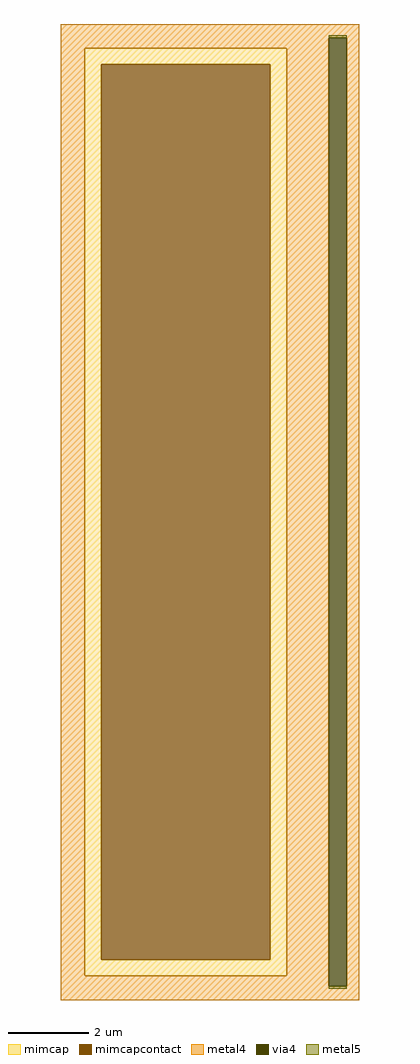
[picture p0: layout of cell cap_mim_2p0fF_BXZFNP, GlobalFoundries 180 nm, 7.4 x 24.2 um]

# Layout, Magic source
magic
tech gf180mcuD
magscale 1 10
<< mimcap >>
rect -620 2220 380 2300
rect -620 -2220 -540 2220
rect 300 -2220 380 2220
rect -620 -2300 380 -2220
<< mimcapcontact >>
rect -540 -2220 300 2220
<< metal4 >>
rect -740 2353 740 2420
rect -740 2300 590 2353
rect -740 -2300 -620 2300
rect 380 -2300 590 2300
rect -740 -2353 590 -2300
rect 678 -2353 740 2353
rect -740 -2420 740 -2353
<< via4 >>
rect 590 -2353 678 2353
<< metal5 >>
rect 590 2353 678 2363
rect 590 -2363 678 -2353
<< properties >>
string FIXED_BBOX -740 -2420 500 2420
string gencell cap_mim_2p0fF
string library gf180mcu
string parameters w 5.0 l 23.0 val 242.194 carea 1.99 cperi 0.2383 class capacitor nx 1 ny 1 dummy 0 square 0 lmin 5.00 wmin 5.00 lmax 100.0 wmax 100.0 dc 0 bconnect 0 tconnect 0
<< end >>
